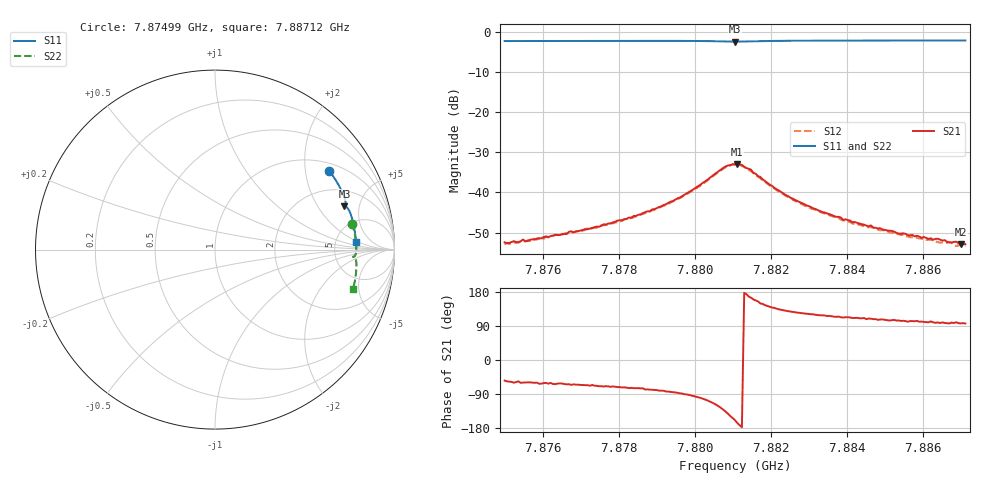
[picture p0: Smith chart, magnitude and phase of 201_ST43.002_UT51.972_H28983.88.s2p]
#  HZ  S  DB  R  50.00
! Rohde & Schwarz Vector Network Analyzer
! Rohde-Schwarz,ZNB20-2Port,1311601062101988,3.16
! Created: UTC 1/12/2023, 6:44:20 PM
! freq[Hz]  db:S11  ang:S11  db:S21  ang:S21  db:S12  ang:S12  db:S22  ang:S22
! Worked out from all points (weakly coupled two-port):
!   201 points, 7.87499 GHz to 7.88712 GHz, reference 50 ohm
!   highest |S21| = -32.85 dB at 7.88111 GHz (marker M1); lowest = -53.0 dB at 7.887 GHz (marker M2)
!   lowest |S11| = -2.4 dB at 7.88105 GHz (marker M3), VSWR 7.35, Z = 155 + j177 ohm
!   |S11| at or under -10 dB: nowhere
!   |S22| runs from -2.3 to -1.9 dB; largest |S21 - S12| = 0.0015
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7.874988e9  -2.23 34.5  -52.44 -54.3  -52.98 -59.8  -2.16 10.7
7.875352e9  -2.23 33.5  -52.50 -56.1  -52.31 -61.2  -2.16 9.8
7.875473e9  -2.23 33.2  -51.73 -59.5  -52.12 -63.1  -2.15 9.5
7.875534e9  -2.23 33.0  -52.19 -59.3  -52.18 -62.2  -2.16 9.3
7.875715e9  -2.22 32.5  -51.69 -59.7  -51.48 -62.7  -2.15 8.9
7.87705e9  -2.20 28.9  -49.35 -66.2  -49.44 -69.2  -2.11 5.8
7.87802e9  -2.19 26.3  -46.94 -71.5  -47.29 -75.8  -2.09 3.5
7.879051e9  -2.18 23.4  -43.63 -80.7  -43.80 -84.5  -2.07 1.0
7.879901e9  -2.20 20.9  -39.55 -93.6  -39.74 -96.7  -2.08 -1.0
7.88081e9  -2.35 18.6  -33.48 -136.7  -33.68 -139.9  -2.24 -3.0
7.881053e9  -2.38 18.5  -33.00 -158.9  -32.99 -162.6  -2.28 -3.0
7.881114e9  -2.37 18.5  -32.85 -166.1  -33.04 -168.4  -2.28 -3.0
7.881478e9  -2.29 18.2  -34.33 164.3  -34.72 160.4  -2.19 -3.1
7.882387e9  -2.17 15.6  -40.64 130.2  -40.80 127.2  -2.04 -5.2
7.883115e9  -2.14 13.6  -43.97 120.4  -44.13 116.6  -2.01 -6.9
7.883904e9  -2.12 11.4  -46.84 112.1  -46.98 109.0  -1.99 -8.7
7.885117e9  -2.10 8.2  -49.53 104.2  -49.94 103.1  -1.96 -11.5
7.886451e9  -2.09 4.7  -51.74 97.6  -52.51 94.0  -1.94 -14.4
7.886694e9  -2.09 4.1  -52.45 96.4  -52.36 96.6  -1.94 -14.9
7.886876e9  -2.08 3.6  -52.26 99.5  -53.34 95.4  -1.94 -15.3
7.886997e9  -2.08 3.3  -52.97 96.5  -53.15 94.3  -1.94 -15.5
7.887118e9  -2.08 3.0  -52.87 96.4  -53.33 93.0  -1.94 -15.8
